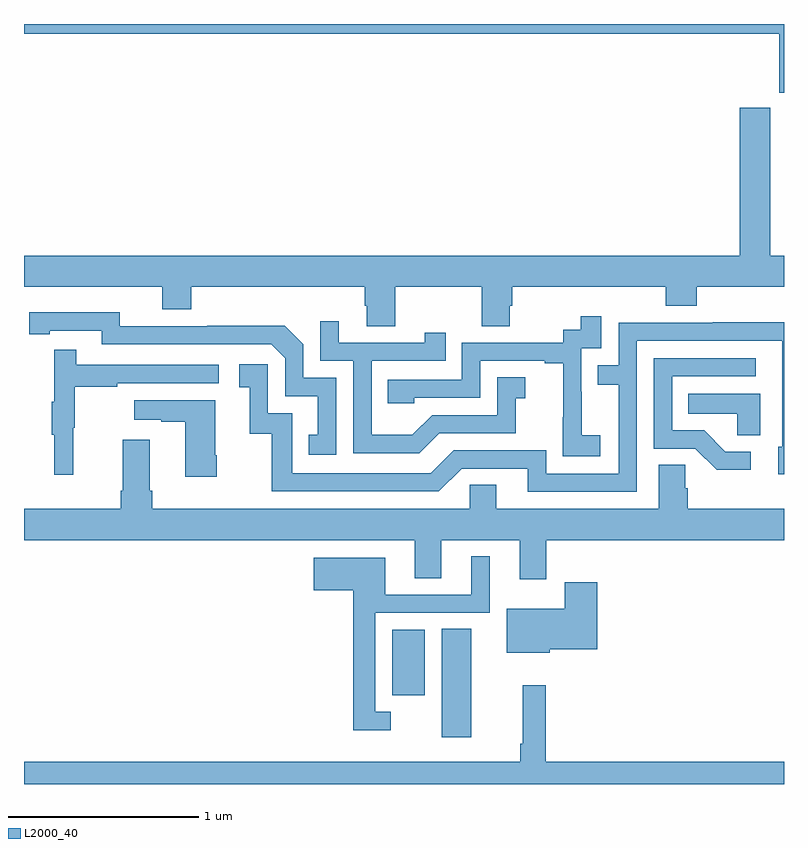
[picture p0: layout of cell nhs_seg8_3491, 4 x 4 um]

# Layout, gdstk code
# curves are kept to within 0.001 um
import gdstk
lib = gdstk.Library(unit=1e-6, precision=1e-09)
def R(c, l, rs):  # rectangles x0, y0, x1, y1
    for r in rs: c.add(gdstk.rectangle(r[:2], r[2:], *l))
def P(c, l, *ps):  # polygons
    for p in ps: c.add(gdstk.Polygon(p, *l))
L2000_40 = (2000, 40)

nhs_seg8_3491 = lib.new_cell('nhs_seg8_3491')
R(nhs_seg8_3491, L2000_40, [(329.198,1098.147,329.353,1098.716), (328.937,1098.368,329.11,1098.712)])
P(nhs_seg8_3491, L2000_40, [(331,1101.9),(327,1101.9),(327,1101.848),(330.974,1101.848),(330.974,1101.539),(331,1101.539)],
  [(327,1100.516),(327.728,1100.516),(327.728,1100.399),(327.881,1100.399),(327.881,1100.516),(328.793,1100.516),(328.793,1100.418),(328.805,1100.418),(328.805,1100.308),(328.953,1100.308),(328.953,1100.516),(329.41,1100.516),(329.41,1100.308),(329.557,1100.308),(329.557,1100.418),(329.57,1100.418),(329.57,1100.516),(330.377,1100.516),(330.377,1100.417),(330.542,1100.417),(330.542,1100.516),(331,1100.516),(331,1100.68),(330.927,1100.68),(330.927,1101.46),(330.767,1101.46),(330.767,1100.68),(327,1100.68)],
  [(328.644,1100.037),(328.47,1100.037),(328.47,1100.214),(328.372,1100.312),(327.964,1100.312),(327.964,1100.31),(327.504,1100.31),(327.504,1100.383),(327.028,1100.382),(327.028,1100.266),(327.136,1100.266),(327.136,1100.286),(327.408,1100.286),(327.408,1100.214),(328.302,1100.214),(328.374,1100.142),(328.374,1099.941),(328.547,1099.941),(328.547,1099.737),(328.498,1099.737),(328.498,1099.632),(328.644,1099.632)],
  [(330.034,1099.735),(329.936,1099.735),(329.936,1099.964),(329.934,1099.964),(329.934,1100.193),(330.039,1100.193),(330.039,1100.362),(329.931,1100.362),(329.931,1100.292),(329.838,1100.292),(329.838,1100.223),(329.304,1100.223),(329.304,1100.028),(328.915,1100.028),(328.915,1099.905),(329.055,1099.905),(329.055,1099.932),(329.4,1099.932),(329.4,1100.127),(329.741,1100.127),(329.741,1100.115),(329.837,1100.115),(329.837,1099.831),(329.836,1099.831),(329.836,1099.625),(330.034,1099.625)],
  [(329.185,1099.746),(329.589,1099.746),(329.589,1099.931),(329.638,1099.931),(329.638,1100.041),(329.49,1100.041),(329.49,1099.842),(329.148,1099.842),(329.044,1099.738),(328.83,1099.738),(328.83,1100.127),(329.219,1100.127),(329.219,1100.275),(329.108,1100.275),(329.108,1100.223),(328.657,1100.223),(328.657,1100.335),(328.56,1100.335),(328.56,1100.127),(328.734,1100.127),(328.734,1099.641),(329.08,1099.641)],
  [(330.225,1100.232),(330.99,1100.232),(330.99,1099.674),(330.971,1099.674),(330.971,1099.53),(331,1099.53),(331,1100.33),(330.625,1100.33),(330.625,1100.328),(330.129,1100.328),(330.129,1100.103),(330.019,1100.103),(330.019,1100.002),(330.129,1100.002),(330.129,1099.533),(329.748,1099.533),(329.748,1099.656),(329.262,1099.656),(329.142,1099.536),(328.413,1099.536),(328.413,1099.851),(328.284,1099.851),(328.284,1100.11),(328.134,1100.11),(328.134,1099.989),(328.187,1099.989),(328.187,1099.743),(328.305,1099.743),(328.305,1099.44),(329.184,1099.44),(329.304,1099.56),(329.651,1099.56),(329.651,1099.437),(330.225,1099.437)],
  [(327.26,1099.776),(327.268,1099.776),(327.268,1099.99),(327.491,1099.99),(327.491,1100.01),(328.024,1100.01),(328.024,1100.106),(327.275,1100.106),(327.275,1100.185),(327.158,1100.185),(327.158,1099.913),(327.147,1099.913),(327.147,1099.739),(327.158,1099.739),(327.158,1099.527),(327.26,1099.527)],
  [(330.826,1099.65),(330.691,1099.65),(330.58,1099.761),(330.411,1099.761),(330.411,1100.046),(330.85,1100.046),(330.85,1100.142),(330.315,1100.142),(330.315,1099.665),(330.534,1099.665),(330.647,1099.553),(330.826,1099.553)],
  [(330.874,1099.954),(330.496,1099.954),(330.496,1099.85),(330.753,1099.85),(330.753,1099.735),(330.874,1099.735)],
  [(328.014,1099.63),(328.006,1099.63),(328.006,1099.921),(327.579,1099.921),(327.579,1099.817),(327.722,1099.817),(327.722,1099.807),(327.848,1099.807),(327.848,1099.518),(328.014,1099.518)],
  [(327.674,1099.444),(327.661,1099.444),(327.661,1099.711),(327.521,1099.711),(327.521,1099.444),(327.509,1099.444),(327.509,1099.348),(327,1099.348),(327,1099.184),(329.057,1099.184),(329.057,1098.982),(329.197,1098.982),(329.197,1099.184),(329.609,1099.184),(329.609,1098.978),(329.749,1098.978),(329.749,1099.184),(331,1099.184),(331,1099.348),(330.494,1099.348),(330.494,1099.457),(330.48,1099.457),(330.48,1099.58),(330.341,1099.58),(330.341,1099.348),(329.485,1099.348),(329.485,1099.475),(329.346,1099.475),(329.346,1099.348),(327.674,1099.348)],
  [(328.93,1098.279),(328.848,1098.279),(328.848,1098.801),(329.452,1098.801),(329.452,1099.099),(329.354,1099.099),(329.354,1098.897),(328.9,1098.897),(328.9,1099.09),(328.524,1099.09),(328.524,1098.92),(328.732,1098.92),(328.732,1098.182),(328.93,1098.182)],
  [(329.766,1098.608),(330.017,1098.608),(330.017,1098.961),(329.846,1098.961),(329.846,1098.823),(329.54,1098.823),(329.54,1098.59),(329.766,1098.59)],
  [(331,1098.016),(329.747,1098.016),(329.747,1098.421),(329.626,1098.421),(329.626,1098.112),(329.611,1098.112),(329.611,1098.016),(327,1098.016),(327,1097.9),(331,1097.9)])

lib.write_gds('nhs_seg8_3491.gds')
